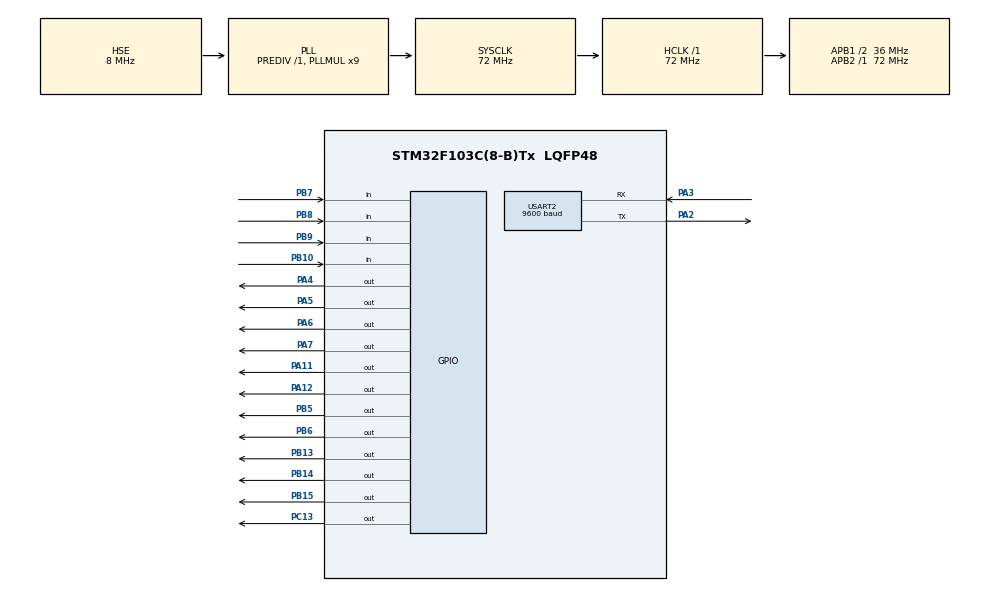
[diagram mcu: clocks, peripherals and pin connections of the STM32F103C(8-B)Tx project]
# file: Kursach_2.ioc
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Mcu.Family=STM32F1
Mcu.Name=STM32F103C(8-B)Tx
Mcu.Package=LQFP48
NVIC.PriorityGroup=NVIC_PRIORITYGROUP_4
NVIC.USART2_IRQn=true\:0\:0\:false\:false\:true\:true\:true\:true
PA11.Signal=GPIO_Output
PA12.Signal=GPIO_Output
PA2.Mode=Asynchronous
PA2.Signal=USART2_TX
PA3.Mode=Asynchronous
PA3.Signal=USART2_RX
PA4.Signal=GPIO_Output
PA5.Signal=GPIO_Output
PA6.Signal=GPIO_Output
PA7.Signal=GPIO_Output
PB10.GPIO_PuPd=GPIO_PULLUP
PB10.Signal=GPIO_Input
PB13.Signal=GPIO_Output
PB14.Signal=GPIO_Output
PB15.Signal=GPIO_Output
PB5.GPIO_ModeDefaultOutputPP=GPIO_MODE_OUTPUT_PP
PB5.Signal=GPIO_Output
PB6.GPIO_ModeDefaultOutputPP=GPIO_MODE_OUTPUT_PP
PB6.Signal=GPIO_Output
PB7.GPIO_PuPd=GPIO_PULLUP
PB7.Signal=GPIO_Input
PB8.GPIO_PuPd=GPIO_PULLUP
PB8.Signal=GPIO_Input
PB9.GPIO_PuPd=GPIO_PULLUP
PB9.Signal=GPIO_Input
PC13-TAMPER-RTC.Signal=GPIO_Output
PD0-OSC_IN.Mode=HSE-External-Oscillator
PD0-OSC_IN.Signal=RCC_OSC_IN
PD1-OSC_OUT.Mode=HSE-External-Oscillator
PD1-OSC_OUT.Signal=RCC_OSC_OUT
ProjectManager.HeapSize=0x200
ProjectManager.StackSize=0x400
ProjectManager.TargetToolchain=STM32CubeIDE
RCC.AHBFreq_Value=72000000
RCC.APB1CLKDivider=RCC_HCLK_DIV2
RCC.APB1Freq_Value=36000000
RCC.APB1TimFreq_Value=72000000
RCC.APB2Freq_Value=72000000
RCC.APB2TimFreq_Value=72000000
RCC.HCLKFreq_Value=72000000
RCC.PLLMUL=RCC_PLL_MUL9
RCC.PLLSourceVirtual=RCC_PLLSOURCE_HSE
RCC.SYSCLKFreq_VALUE=72000000
RCC.SYSCLKSource=RCC_SYSCLKSOURCE_PLLCLK
RCC.USBFreq_Value=72000000
USART2.BaudRate=9600
USART2.VirtualMode=VM_ASYNC
board=custom

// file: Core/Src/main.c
/* USER CODE BEGIN Header */
/**
  ******************************************************************************
  * @file           : main.c
  * @brief          : Main program body
  ******************************************************************************
  * @attention
  *
  * Copyright (c) 2024 STMicroelectronics.
  * All rights reserved.
  *
  * This software is licensed under terms that can be found in the LICENSE file
  * in the root directory of this software component.
  * If no LICENSE file comes with this software, it is provided AS-IS.
  *
  ******************************************************************************
  */
/* USER CODE END Header */
#include "main.h"

/* USER CODE BEGIN PTD */
#define MAX_MESSAGE_LENGTH 8
#define ROWS 4
#define COLS 4
/* USER CODE END PTD */

UART_HandleTypeDef huart2;

/* USER CODE BEGIN PV */
bool alarm = false;
bool mega_alarm = false;
bool blocked = false;
volatile uint8_t alarm_counter = 0;
volatile uint8_t shift = 15;
volatile char aprd[MAX_MESSAGE_LENGTH] = "aprd";
volatile char deny[MAX_MESSAGE_LENGTH] = "deny";
volatile char buff[MAX_MESSAGE_LENGTH];
const char alarm_code[4] = "1234";
volatile char input_code[4] = "mmmm";
const char *validCodes[] = {
    "2345",
    "1730",
    "5344",
    "1234",
	"1111"
};
volatile char input[MAX_MESSAGE_LENGTH];
volatile char output[MAX_MESSAGE_LENGTH];
volatile char decrypted[MAX_MESSAGE_LENGTH];
const uint8_t validCodesCount = sizeof(validCodes) / sizeof(validCodes[0]);
volatile uint8_t doors[validCodesCount] = {0, 0, 0, 0, 0};
GPIO_TypeDef* rowPorts[ROWS] = {GPIOB, GPIOB, GPIOB, GPIOB};
uint16_t rowPins[ROWS] = {GPIO_PIN_7, GPIO_PIN_8, GPIO_PIN_9, GPIO_PIN_10};
GPIO_TypeDef* colPorts[COLS] = {GPIOA, GPIOA, GPIOB, GPIOB};
uint16_t colPins[COLS] = {GPIO_PIN_11, GPIO_PIN_12, GPIO_PIN_5, GPIO_PIN_6};
uint16_t diods[4] = {GPIO_PIN_4, GPIO_PIN_5, GPIO_PIN_6, GPIO_PIN_7};
uint16_t alarms[3] = {GPIO_PIN_15, GPIO_PIN_14, GPIO_PIN_13};
char keyMap[4][4] = {
    {'1', '2', '3', 'A'},
    {'4', '5', '6', 'B'},
    {'7', '8', '9', 'C'},
    {'*', '0', '#', 'D'}
};

/* USER CODE END PV */

void SystemClock_Config(void);
static void MX_GPIO_Init(void);
static void MX_USART2_UART_Init(void);

/* USER CODE BEGIN 0 */

char scanKeypad(void) {
    int activeRows = 0; // Счётчик активных строк
    int activeRowIndex = -1;
    int activeColIndex = -1;

    for (int col = 0; col < COLS; col++) {
        // Установить все столбцы в HIGH
        for (int i = 0; i < COLS; i++) {
            HAL_GPIO_WritePin(colPorts[i], colPins[i], GPIO_PIN_SET);
        }

        // Установить текущий столбец в LOW
        HAL_GPIO_WritePin(colPorts[col], colPins[col], GPIO_PIN_RESET);

        for (int row = 0; row < ROWS; row++) {
            if (HAL_GPIO_ReadPin(rowPorts[row], rowPins[row]) == GPIO_PIN_RESET) {
                HAL_Delay(100);
                if (HAL_GPIO_ReadPin(rowPorts[row], rowPins[row]) == GPIO_PIN_RESET) {
                    activeRows++;
                    activeRowIndex = row;
                    activeColIndex = col;

                    if (activeRows > 1) {
                        return 0;
                    }
                }
            }
        }
    }

    if (activeRows == 1) {
        return keyMap[activeRowIndex][activeColIndex];
    }

    return 0;
}

uint8_t isValidCode(const char *code) {
    for (uint8_t i = 0; i < validCodesCount; i++) {
        if (strncmp(code, validCodes[i], 4) == 0) {
        	if (doors[i] == 1)
        		doors[i] = 1;
        	else
        		doors[i] = 0;
            return 1;
        }
    }
    return 0;
}

uint8_t check_len(const char* str) {
	uint8_t len = 0;
	while (1) {
		if (len>20)
			return 0;
		if (str[len] == '\0')
			return len;
		else
			len++;
	}
}

bool check_key(const char* str) {
    uint8_t len = check_len(str);
    uint8_t first_char = str[len-2] - 48;
    uint8_t second_char = str[len-1] - 48;
    uint8_t first_digit = shift / 10;
    uint8_t second_digit = shift % 10;
    if (first_char == first_digit && second_char == second_digit)
    	return true;
    return false;
}

void decrypt(const char* message, char* output) {
    uint8_t len = check_len(message);
    for (size_t i = 0; i < len; i++) {
        output[i] = message[i] - shift;
    }
    output[len]= '\0';
//    shift = (shift-9) % 20 + 10;
}

void encrypt(const char* message, char* output) {
    uint8_t len = check_len(message);
    for (size_t i = 0; i < len+3; i++) {
    	output[i] = ((message[i] + shift - 32) % 96) + 32;
    }
    output[len] = shift / 10 + '0'  + shift;
    output[len + 1] = shift % 10 + '0' + shift;
    output[len + 2]= '\0';
    shift = (shift-9) % 20 + 10;

}

void check_alarm_code(const char* str) {
	HAL_GPIO_WritePin(GPIOC, GPIO_PIN_13, GPIO_PIN_RESET);
}

void USART2_SendString(const char* str) {
    uint8_t len = check_len(str);
    HAL_UART_Transmit(&huart2, (uint8_t*)str, len+1, 1000);
//	HAL_Delay(1000);
}

void HAL_UART_RxCpltCallback(UART_HandleTypeDef *huart)
{
//	HAL_GPIO_WritePin(GPIOC, GPIO_PIN_13, GPIO_PIN_SET);
//	HAL_Delay(1000);
//	HAL_GPIO_WritePin(GPIOC, GPIO_PIN_13, GPIO_PIN_RESET);
	if(huart == &huart2)
	{

		decrypt(buff, decrypted);

		// проверка на корректность смещения
		if (!check_key(decrypted)) {
			alarm = true;
			encrypt(deny, output);
			USART2_SendString(output);
//			HAL_GPIO_WritePin(GPIOC, GPIO_PIN_13, GPIO_PIN_SET);
		}
		else {
			// обработка
			if (isValidCode((const char *)decrypted)) {
				// Код корректный
				encrypt(aprd, output);
				USART2_SendString(output);
			} else {
				// Код некорректный
				encrypt(deny, output);
				USART2_SendString(output);
				alarm = true;

			}
		}

//		HAL_UART_Receive_IT(&huart2, (uint8_t*)buff, 15);
//		HAL_UART_Receive_IT(&huart2, (uint8_t*)buff, 15);
	}
}
/* USER CODE END 0 */

int main(void)
{

  /* MCU Configuration--------------------------------------------------------*/

  /* Reset of all peripherals, Initializes the Flash interface and the Systick. */
  HAL_Init();

  /* USER CODE BEGIN Init */
  char keyPressed;
  /* USER CODE END Init */

  /* Configure the system clock */
  SystemClock_Config();

  /* Initialize all configured peripherals */
  MX_GPIO_Init();
  MX_USART2_UART_Init();

  /* Infinite loop */
  /* USER CODE BEGIN WHILE */

  while (1)
  {
	  if (!alarm) {
		  if (HAL_UART_GetState (&huart2) == HAL_UART_STATE_READY)
		  {
			  HAL_UART_Receive_IT(&huart2, (uint8_t*)buff, 7);
	//		  HAL_Delay(100);

		  }
	  }
	  else {
		  if (!mega_alarm) {
		  	for (int i = 0; i < 4; i++) {
		  		if (input_code[i] != 'm')
		  			HAL_GPIO_WritePin(GPIOA, diods[i], GPIO_PIN_SET);
		  		else
		  			HAL_GPIO_WritePin(GPIOA, diods[i], GPIO_PIN_RESET);
		  	}
			HAL_GPIO_WritePin(GPIOC, GPIO_PIN_13, GPIO_PIN_SET);
			keyPressed = scanKeypad();
				if (keyPressed) {
					if (!blocked) {
						if (keyPressed == '0' || keyPressed == '1' || keyPressed == '2' || keyPressed == '3' || keyPressed == '4' || keyPressed == '5' || keyPressed == '6' || keyPressed == '7' || keyPressed == '8' || keyPressed == '9') {
							for (int i = 0; i < 4; i++) {
								if (input_code[i] == 'm') {
									input_code[i] = keyPressed;
									break;
								}
							}
						}
						else if (keyPressed == '*') {
							if (input_code[3] != 'm')
								input_code[3] = 'm';
							else if (input_code[2] != 'm')
								input_code[2] = 'm';
							else if (input_code[1] != 'm')
								input_code[1] = 'm';
							else if (input_code[0] != 'm')
								input_code[0] = 'm';

						}
						else if (keyPressed == '#') {
							if (input_code[3] != 'm') {
								// проверка кода
								int count = 0;
								for (int i = 0; i < 4; i++) {
									if (input_code[i] == alarm_code[i])
										count++;
								}
								if (count == 4) {
									HAL_GPIO_WritePin(GPIOC, GPIO_PIN_13, GPIO_PIN_RESET);
									for (int i = 0; i < 3; i++)
										HAL_GPIO_WritePin(GPIOB, alarms[i], GPIO_PIN_RESET);
									alarm_counter = 0;
									alarm = false;
									for (int i = 0; i < 4; i++)
										HAL_GPIO_WritePin(GPIOA, diods[i], GPIO_PIN_RESET);
									encrypt(aprd, output);
									USART2_SendString(output);
								}
								else {
									alarm_counter++;
									HAL_GPIO_WritePin(GPIOB, alarms[alarm_counter - 1], GPIO_PIN_SET);
									if (alarm_counter > 2) {
										mega_alarm = true;

									}
									for (int i = 0; i < 4; i++)
										HAL_GPIO_WritePin(GPIOA, diods[i], GPIO_PIN_RESET);
								}
								for (int i = 0; i < 4; i++) {
									input_code[i] = 'm';
								}
							}

						}
						else if (keyPressed == 'B') {
							blocked = true;
						}
						else if (keyPressed == 'C') {
							for (int i = 0; i < 4; i++) {
								input_code[i] = 'm';
							}
						}
						else if (keyPressed == 'D') {
							HAL_NVIC_SystemReset();
						}

					}
					else if (keyPressed == 'A')
						blocked = false;
					else if (keyPressed == 'D') {
						HAL_NVIC_SystemReset();
					}
			}
		  }
	  }

//	  while( HAL_UART_GetState (&huart2) == HAL_UART_STATE_BUSY_TX );
//	  HAL_Delay(1000);

//	  decrypt(output, decrypted);
//	  USART2_SendString(decrypted);
    /* USER CODE END WHILE */

  }
}

void SystemClock_Config(void)
{
  RCC_OscInitTypeDef RCC_OscInitStruct = {0};
  RCC_ClkInitTypeDef RCC_ClkInitStruct = {0};

  /** Initializes the RCC Oscillators according to the specified parameters
  * in the RCC_OscInitTypeDef structure.
  */
  RCC_OscInitStruct.OscillatorType = RCC_OSCILLATORTYPE_HSE;
  RCC_OscInitStruct.HSEState = RCC_HSE_ON;
  RCC_OscInitStruct.HSEPredivValue = RCC_HSE_PREDIV_DIV1;
  RCC_OscInitStruct.HSIState = RCC_HSI_ON;
  RCC_OscInitStruct.PLL.PLLState = RCC_PLL_ON;
  RCC_OscInitStruct.PLL.PLLSource = RCC_PLLSOURCE_HSE;
  RCC_OscInitStruct.PLL.PLLMUL = RCC_PLL_MUL9;
  if (HAL_RCC_OscConfig(&RCC_OscInitStruct) != HAL_OK)
  {
    Error_Handler();
  }

  /** Initializes the CPU, AHB and APB buses clocks
  */
  RCC_ClkInitStruct.ClockType = RCC_CLOCKTYPE_HCLK|RCC_CLOCKTYPE_SYSCLK
                              |RCC_CLOCKTYPE_PCLK1|RCC_CLOCKTYPE_PCLK2;
  RCC_ClkInitStruct.SYSCLKSource = RCC_SYSCLKSOURCE_PLLCLK;
  RCC_ClkInitStruct.AHBCLKDivider = RCC_SYSCLK_DIV1;
  RCC_ClkInitStruct.APB1CLKDivider = RCC_HCLK_DIV2;
  RCC_ClkInitStruct.APB2CLKDivider = RCC_HCLK_DIV1;

  if (HAL_RCC_ClockConfig(&RCC_ClkInitStruct, FLASH_LATENCY_2) != HAL_OK)
  {
    Error_Handler();
  }
}

static void MX_USART2_UART_Init(void)
{

  huart2.Instance = USART2;
  huart2.Init.BaudRate = 9600;
  huart2.Init.WordLength = UART_WORDLENGTH_8B;
  huart2.Init.StopBits = UART_STOPBITS_1;
  huart2.Init.Parity = UART_PARITY_NONE;
  huart2.Init.Mode = UART_MODE_TX_RX;
  huart2.Init.HwFlowCtl = UART_HWCONTROL_NONE;
  huart2.Init.OverSampling = UART_OVERSAMPLING_16;
  if (HAL_UART_Init(&huart2) != HAL_OK)
  {
    Error_Handler();
  }

}

static void MX_GPIO_Init(void)
{
  GPIO_InitTypeDef GPIO_InitStruct = {0};

  /* GPIO Ports Clock Enable */
  __HAL_RCC_GPIOC_CLK_ENABLE();
  __HAL_RCC_GPIOD_CLK_ENABLE();
  __HAL_RCC_GPIOA_CLK_ENABLE();
  __HAL_RCC_GPIOB_CLK_ENABLE();

  /*Configure GPIO pin Output Level */
  HAL_GPIO_WritePin(GPIOC, GPIO_PIN_13, GPIO_PIN_RESET);

  /*Configure GPIO pin Output Level */
  HAL_GPIO_WritePin(GPIOA, GPIO_PIN_4|GPIO_PIN_5|GPIO_PIN_6|GPIO_PIN_7
                          |GPIO_PIN_11|GPIO_PIN_12, GPIO_PIN_RESET);

  /*Configure GPIO pin Output Level */
  HAL_GPIO_WritePin(GPIOB, GPIO_PIN_13|GPIO_PIN_14|GPIO_PIN_15|GPIO_PIN_5
                          |GPIO_PIN_6, GPIO_PIN_RESET);

  /*Configure GPIO pin : PC13 */
  GPIO_InitStruct.Pin = GPIO_PIN_13;
  GPIO_InitStruct.Mode = GPIO_MODE_OUTPUT_PP;
  GPIO_InitStruct.Pull = GPIO_NOPULL;
  GPIO_InitStruct.Speed = GPIO_SPEED_FREQ_LOW;
  HAL_GPIO_Init(GPIOC, &GPIO_InitStruct);

  /*Configure GPIO pins : PA4 PA5 PA6 PA7
                           PA11 PA12 */
  GPIO_InitStruct.Pin = GPIO_PIN_4|GPIO_PIN_5|GPIO_PIN_6|GPIO_PIN_7
                          |GPIO_PIN_11|GPIO_PIN_12;
  GPIO_InitStruct.Mode = GPIO_MODE_OUTPUT_PP;
  GPIO_InitStruct.Pull = GPIO_NOPULL;
  GPIO_InitStruct.Speed = GPIO_SPEED_FREQ_LOW;
  HAL_GPIO_Init(GPIOA, &GPIO_InitStruct);

  /*Configure GPIO pins : PB10 PB7 PB8 PB9 */
  GPIO_InitStruct.Pin = GPIO_PIN_10|GPIO_PIN_7|GPIO_PIN_8|GPIO_PIN_9;
  GPIO_InitStruct.Mode = GPIO_MODE_INPUT;
  GPIO_InitStruct.Pull = GPIO_PULLUP;
  HAL_GPIO_Init(GPIOB, &GPIO_InitStruct);

  /*Configure GPIO pins : PB13 PB14 PB15 PB5
                           PB6 */
  GPIO_InitStruct.Pin = GPIO_PIN_13|GPIO_PIN_14|GPIO_PIN_15|GPIO_PIN_5
                          |GPIO_PIN_6;
  GPIO_InitStruct.Mode = GPIO_MODE_OUTPUT_PP;
  GPIO_InitStruct.Pull = GPIO_NOPULL;
  GPIO_InitStruct.Speed = GPIO_SPEED_FREQ_LOW;
  HAL_GPIO_Init(GPIOB, &GPIO_InitStruct);

}

void Error_Handler(void)
{
  __disable_irq();
  while (1)
  {
  }
}
